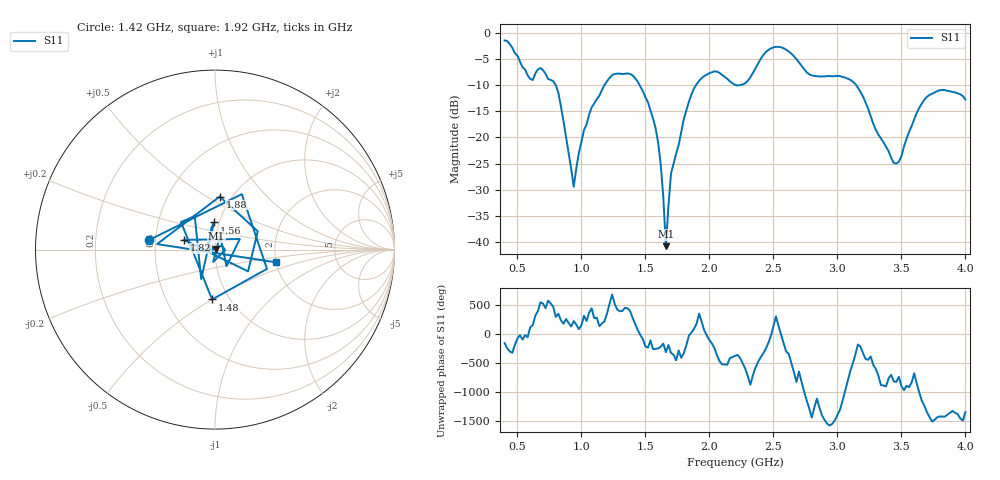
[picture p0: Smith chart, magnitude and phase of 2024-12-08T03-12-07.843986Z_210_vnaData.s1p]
!Created with skrf (http://scikit-rf.org).
# Hz S RI R 50.0
!freq ReS11 ImS11
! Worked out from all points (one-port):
!   181 points, 400 MHz to 4 GHz, reference 50 ohm
!   lowest |S11| = -40.9 dB at 1.66 GHz (marker M1), VSWR 1.02, Z = 50.7 + j0.61 ohm
!   |S11| at or under -10 dB: 800.2 MHz to 1.179 GHz (378.8 MHz wide, 38.3 % of centre); 1.456 GHz to 1.894 GHz (438.8 MHz wide, 26.2 % of centre); 3.148 GHz to end of sweep (the widest 3 of 4)
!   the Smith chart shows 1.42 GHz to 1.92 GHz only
!   S11 on the Smith chart (normalised r, x): 1.42 GHz: 0.46, +0.06; 1.48 GHz: 0.83, -0.50; 1.56 GHz: 0.94, +0.29; 1.82 GHz: 0.70, +0.08; 1.88 GHz: 0.88, +0.57; 1.92 GHz: 2.01, -0.33
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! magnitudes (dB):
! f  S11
! 400 MHz  -1.4
! 600 MHz  -8.7
! 680 MHz  -6.7
! 780 MHz  -9.2
! 860 MHz  -16.9
! 940 MHz  -29.5
! 1.02 GHz  -18.6
! 1.08 GHz  -14.2
! 1.3 GHz  -7.7
! 1.42 GHz  -8.6
! 1.48 GHz  -11.1
! 1.56 GHz  -16.4
! 1.62 GHz  -25.3
! 1.66 GHz  -40.9
! 1.7 GHz  -26.9
! 1.76 GHz  -21.4
! 1.82 GHz  -14.8
! 1.88 GHz  -10.6
! 1.92 GHz  -9.1
! 2.2 GHz  -9.9
! 2.48 GHz  -2.9
! 2.66 GHz  -4.4
! 2.8 GHz  -8.1
! 3.1 GHz  -8.9
! 3.44 GHz  -24.9
! 3.56 GHz  -18.9
! 3.72 GHz  -11.8
! 4 GHz  -12.7
